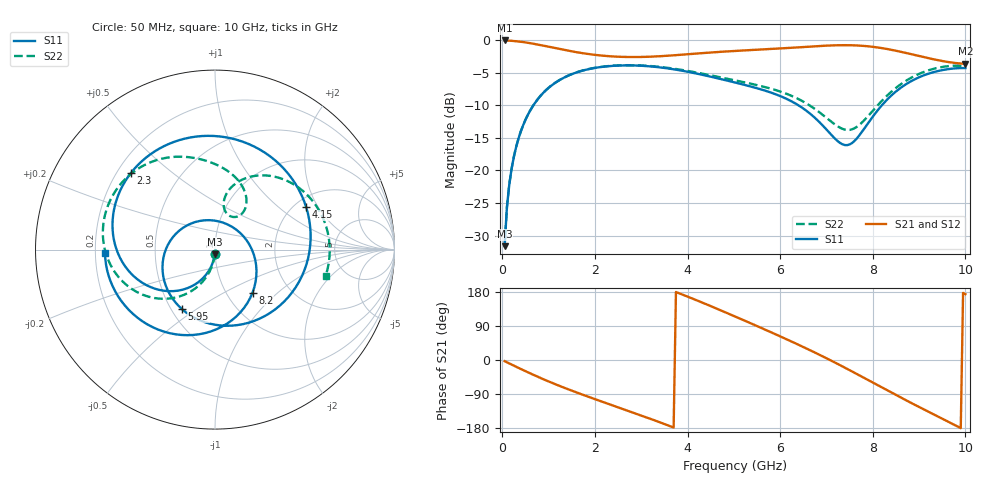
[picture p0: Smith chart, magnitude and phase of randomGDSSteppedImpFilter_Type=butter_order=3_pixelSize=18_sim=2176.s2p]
! freq	dB(S11)	phase(S11)	dB(S12)	phase(S12)
!  dB(S21)	phase(S21)	dB(S22)	phase(S22)
!S-par simulation data
#  GHz  S  DB  R 50
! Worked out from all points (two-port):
!   200 points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, 50 MHz to 10 GHz, reference 50 ohm
!   highest |S21| = -0.01 dB at 50 MHz (marker M1); lowest = -3.6 dB at 10 GHz (marker M2)
!   |S21| within 3 dB of the highest: start of sweep to 9.384 GHz
!   lowest |S11| = -31.6 dB at 50 MHz (marker M3), VSWR 1.05, Z = 49.8 - j2.6 ohm
!   |S11| at or under -10 dB: start of sweep to 670 MHz; 6.4 GHz to 8.193 GHz (1.793 GHz wide, 24.6 % of centre)
!   |S22| runs from -31.6 to -3.8 dB; largest |S21 - S12| = 0
!   S11 on the Smith chart (normalised r, x): 50 MHz: 1.00, -0.05; 2.3 GHz: 0.26, +0.37; 4.15 GHz: 2.30, +1.59; 5.95 GHz: 0.57, -0.44; 8.2 GHz: 1.32, -0.70; 10 GHz: 0.24, -0.01
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0.05  -31.64 -93.4  -0.01 -3.0  -0.01 -3.0  -31.64 -92.9
0.1  -25.67 -96.9  -0.02 -6.1  -0.02 -6.1  -25.67 -95.8
0.2  -19.77 -103.6  -0.06 -12.0  -0.06 -12.0  -19.76 -101.3
0.5  -12.22 -122.8  -0.31 -29.5  -0.31 -29.5  -12.21 -117.2
1.05  -7.00 -155.7  -1.05 -59.1  -1.05 -59.1  -6.99 -143.6
1.75  -4.61 166.3  -1.98 -92.2  -1.98 -92.2  -4.60 -171.9
2.3  -3.96 137.6  -2.43 -116.2  -2.43 -116.2  -3.94 169.0
2.9  -3.87 105.1  -2.56 -142.0  -2.56 -142.0  -3.83 150.1
3.4  -4.14 75.5  -2.43 -164.3  -2.43 -164.3  -4.07 135.5
4.15  -5.03 25.0  -2.05 159.9  -2.05 159.9  -4.88 115.3
4.6  -5.74 -9.0  -1.81 137.1  -1.81 137.1  -5.52 104.4
5.05  -6.51 -44.9  -1.61 113.6  -1.61 113.6  -6.18 94.0
5.5  -7.35 -81.7  -1.44 89.6  -1.44 89.6  -6.87 83.5
5.95  -8.41 -118.7  -1.26 65.2  -1.26 65.2  -7.74 72.3
6.7  -11.58 174.1  -0.93 22.7  -0.93 22.7  -10.29 55.3
7.4  -16.09 73.0  -0.73 -20.4  -0.73 -20.4  -13.72 62.5
7.85  -13.22 -7.4  -0.87 -49.7  -0.87 -49.7  -12.02 78.8
8.2  -9.94 -48.9  -1.19 -72.8  -1.19 -72.8  -9.26 76.6
8.35  -8.81 -63.4  -1.38 -82.6  -1.38 -82.6  -8.22 72.4
9.1  -5.38 -122.0  -2.57 -130.2  -2.57 -130.2  -4.86 39.1
9.6  -4.45 -154.4  -3.29 -160.9  -3.29 -160.9  -3.98 11.7
10  -4.25 -178.2  -3.60 173.6  -3.60 173.6  -3.97 -13.5
